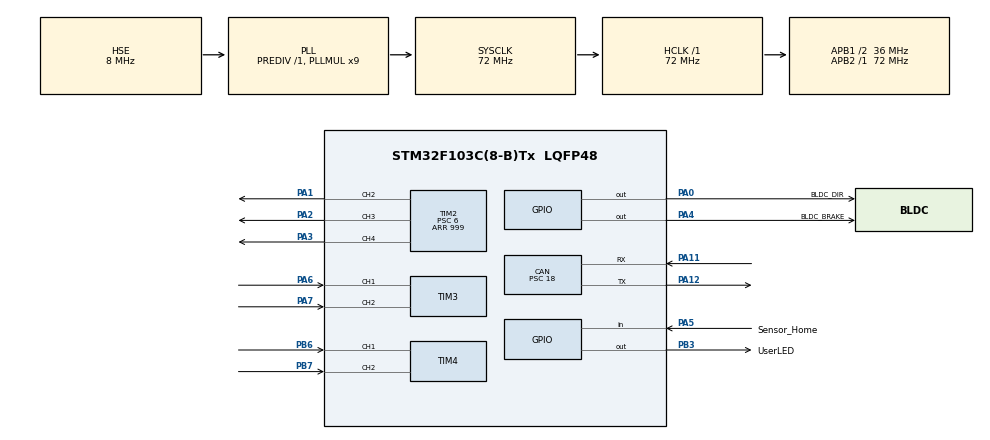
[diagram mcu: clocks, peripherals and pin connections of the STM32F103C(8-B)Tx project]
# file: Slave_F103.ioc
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CAN.BS1=CAN_BS1_2TQ
CAN.CalculateBaudRate=500000
CAN.CalculateTimeBit=2000
CAN.CalculateTimeQuantum=500.0
CAN.Mode=CAN_MODE_LOOPBACK
CAN.Prescaler=18
FREERTOS.INCLUDE_vTaskDelayUntil=1
FREERTOS.Queues01=qCAN,5,uint16_t,0,Dynamic,NULL,NULL
FREERTOS.Tasks01=defaultTask,-3,128,StartDefaultTask,Default,NULL,Dynamic,NULL,NULL;TaskCalcPID,0,128,StartTaskPID,Default,NULL,Static,TaskCalcPIDBuffer,TaskCalcPIDControlBlock;TaskHandleCAN,1,128,StartCANbus,Default,NULL,Static,TaskHandleCANBuffer,TaskHandleCANControlBlock
FREERTOS.configCHECK_FOR_STACK_OVERFLOW=1
FREERTOS.configUSE_NEWLIB_REENTRANT=1
Mcu.Family=STM32F1
Mcu.Name=STM32F103C(8-B)Tx
Mcu.Package=LQFP48
NVIC.CAN1_RX1_IRQn=true\:5\:0\:false\:false\:true\:true\:true\:true\:true
NVIC.PriorityGroup=NVIC_PRIORITYGROUP_4
NVIC.TIM1_UP_IRQn=true\:15\:0\:false\:false\:true\:false\:false\:true\:true
NVIC.TimeBase=TIM1_UP_IRQn
NVIC.TimeBaseIP=TIM1
NVIC.USB_HP_CAN1_TX_IRQn=true\:5\:0\:false\:false\:true\:true\:true\:true\:true
NVIC.USB_LP_CAN1_RX0_IRQn=true\:5\:0\:false\:false\:true\:true\:true\:true\:true
PA0-WKUP.GPIO_Label=BLDC_DIR
PA0-WKUP.Signal=GPIO_Output
PA1.Signal=S_TIM2_CH2
PA11.Mode=CAN_Activate
PA11.Signal=CAN_RX
PA12.Mode=CAN_Activate
PA12.Signal=CAN_TX
PA13.Mode=Serial_Wire
PA13.Signal=SYS_JTMS-SWDIO
PA14.Mode=Serial_Wire
PA14.Signal=SYS_JTCK-SWCLK
PA2.Signal=S_TIM2_CH3
PA3.Signal=S_TIM2_CH4
PA4.GPIO_Label=BLDC_BRAKE
PA4.Signal=GPIO_Output
PA5.GPIO_Label=Sensor_Home
PA5.Signal=GPIO_Input
PA6.Signal=S_TIM3_CH1
PA7.Signal=S_TIM3_CH2
PB3.GPIO_Label=UserLED
PB3.Signal=GPIO_Output
PB6.Signal=S_TIM4_CH1
PB7.Signal=S_TIM4_CH2
PD0-OSC_IN.Mode=HSE-External-Oscillator
PD0-OSC_IN.Signal=RCC_OSC_IN
PD1-OSC_OUT.Mode=HSE-External-Oscillator
PD1-OSC_OUT.Signal=RCC_OSC_OUT
ProjectManager.HeapSize=0x200
ProjectManager.StackSize=0x400
ProjectManager.TargetToolchain=STM32CubeIDE
RCC.AHBFreq_Value=72000000
RCC.APB1CLKDivider=RCC_HCLK_DIV2
RCC.APB1Freq_Value=36000000
RCC.APB1TimFreq_Value=72000000
RCC.APB2Freq_Value=72000000
RCC.APB2TimFreq_Value=72000000
RCC.HCLKFreq_Value=72000000
RCC.PLLMUL=RCC_PLL_MUL9
RCC.PLLSourceVirtual=RCC_PLLSOURCE_HSE
RCC.SYSCLKFreq_VALUE=72000000
RCC.SYSCLKSource=RCC_SYSCLKSOURCE_PLLCLK
RCC.USBFreq_Value=72000000
SH.S_TIM2_CH2.0=TIM2_CH2,PWM Generation2 CH2
SH.S_TIM2_CH3.0=TIM2_CH3,PWM Generation3 CH3
SH.S_TIM2_CH4.0=TIM2_CH4,PWM Generation4 CH4
SH.S_TIM3_CH1.0=TIM3_CH1,Encoder_Interface
SH.S_TIM3_CH2.0=TIM3_CH2,Encoder_Interface
SH.S_TIM4_CH1.0=TIM4_CH1,Encoder_Interface
SH.S_TIM4_CH2.0=TIM4_CH2,Encoder_Interface
TIM2.Channel-PWM\ Generation2\ CH2=TIM_CHANNEL_2
TIM2.Channel-PWM\ Generation3\ CH3=TIM_CHANNEL_3
TIM2.Channel-PWM\ Generation4\ CH4=TIM_CHANNEL_4
TIM2.Period=999
TIM2.Prescaler=6
TIM3.EncoderMode=TIM_ENCODERMODE_TI12
TIM4.EncoderMode=TIM_ENCODERMODE_TI12
VP_FREERTOS_VS_CMSIS_V1.Mode=CMSIS_V1
VP_SYS_VS_tim1.Mode=TIM1
board=custom

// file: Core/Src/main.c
/* USER CODE BEGIN Header */
/**
  ******************************************************************************
  * @file           : main.c
  * @brief          : Main program body
  ******************************************************************************
  * @attention
  *
  * Copyright (c) 2023 STMicroelectronics.
  * All rights reserved.
  *
  * This software is licensed under terms that can be found in the LICENSE file
  * in the root directory of this software component.
  * If no LICENSE file comes with this software, it is provided AS-IS.
  *
  ******************************************************************************
  */
/* USER CODE END Header */
#include "main.h"
#include "cmsis_os.h"

/* USER CODE BEGIN Includes */
#include "CAN_Control.h"
#include "CAN_FuncHandle.h"
#include "Encoder.h"
#include "BoardParameter.h"
#include "PID_SwerveModule.h"
#include "SetHome.h"
/* USER CODE END Includes */

/* USER CODE BEGIN PD */
#define FLASH_ADDR_BASE 0x08000000
#define FLASH_ADDR_TARGET_PAGE 64
#define FLASH_ADDR_TARGET (FLASH_ADDR_BASE + 1024*FLASH_ADDR_TARGET_PAGE)
/* USER CODE END PD */

CAN_HandleTypeDef hcan;

TIM_HandleTypeDef htim2;
TIM_HandleTypeDef htim3;
TIM_HandleTypeDef htim4;

osThreadId defaultTaskHandle;
osThreadId TaskCalcPIDHandle;
uint32_t TaskCalcPIDBuffer[ 128 ];
osStaticThreadDef_t TaskCalcPIDControlBlock;
osThreadId TaskHandleCANHandle;
uint32_t TaskHandleCANBuffer[ 128 ];
osStaticThreadDef_t TaskHandleCANControlBlock;
osMessageQId qCANHandle;
/* USER CODE BEGIN PV */
uint8_t TestMode = 0;
float dcAngleResult = 0;
float bldcSpeed = 10;
float dcAngleSet = 0;
QueueHandle_t qPID,qHome;
bool IsSetHome = false;
float targetAngle;
float targetSpeed;
float testDeltaT;
/* USER CODE END PV */

void SystemClock_Config(void);
static void MX_GPIO_Init(void);
static void MX_CAN_Init(void);
static void MX_TIM3_Init(void);
static void MX_TIM4_Init(void);
static void MX_TIM2_Init(void);
void StartDefaultTask(void const * argument);
void StartTaskPID(void const * argument);
void StartCANbus(void const * argument);

/* USER CODE BEGIN 0 */
void HAL_CAN_RxFifo0MsgPendingCallback(CAN_HandleTypeDef *hcan){
	 HAL_CAN_DeactivateNotification(hcan, CAN_IT_RX_FIFO0_MSG_PENDING);
	 CAN_MODE_ID modeID = canctrl_Receive_2(hcan, CAN_RX_FIFO0);
	 BaseType_t HigherPriorityTaskWoken = pdFALSE;
	 xTaskNotifyFromISR(TaskHandleCANHandle,modeID,eSetValueWithOverwrite,&HigherPriorityTaskWoken);
	 HAL_GPIO_TogglePin(UserLED_GPIO_Port, UserLED_Pin);
}
void HAL_CAN_RxFifo1MsgPendingCallback(CAN_HandleTypeDef *hcan){
	 HAL_CAN_DeactivateNotification(hcan, CAN_IT_RX_FIFO1_MSG_PENDING);
	 CAN_MODE_ID modeID = canctrl_Receive_2(hcan, CAN_RX_FIFO1);
	 BaseType_t HigherPriorityTaskWoken = pdFALSE;
	 xTaskNotifyFromISR(TaskHandleCANHandle,modeID,eSetValueWithOverwrite,&HigherPriorityTaskWoken);
	 HAL_GPIO_TogglePin(UserLED_GPIO_Port, UserLED_Pin);
}

void CAN_Init(){
	HAL_CAN_Start(&hcan);
	HAL_CAN_ActivateNotification(&hcan, CAN_IT_RX_FIFO0_MSG_PENDING | CAN_IT_RX_FIFO1_MSG_PENDING | CAN_IT_RX_FIFO0_FULL);
	uint16_t deviceID = *(__IO uint32_t*)FLASH_ADDR_TARGET << CAN_DEVICE_POS;
	canctrl_Filter_List16(&hcan,
			deviceID | CANCTRL_MODE_ENCODER,
			deviceID | CANCTRL_MODE_LED_BLUE,
			deviceID | CANCTRL_MODE_MOTOR_SPEED_ANGLE,
			deviceID | CANCTRL_MODE_SET_HOME,
			0, CAN_RX_FIFO0);
	canctrl_Filter_List16(&hcan,
			deviceID | CANCTRL_MODE_PID_BLDC_SPEED,
			deviceID | CANCTRL_MODE_PID_DC_ANGLE,
			deviceID | CANCTRL_MODE_PID_DC_SPEED,
			deviceID | CANCTRL_MODE_PID_BLDC_BREAKPROTECTION,
			1, CAN_RX_FIFO0);
	canctrl_Filter_List16(&hcan,
			deviceID | CANCTRL_MODE_TEST,
			deviceID | CANCTRL_MODE_MOTOR_BLDC_BRAKE,
			0,
			0,
			2, CAN_RX_FIFO0);
/* CAN1(address) = *(__IO uint32_t*)(0x40000000UL 			 +  0x00006400			+ 0x01C				)
   CAN1(address) = *(__IO uint32_t*)(PERIPHERAL_BASE_ADDRESS + APB1_BASE_ADDRESS 	+ CAN_BASE_ADDRESS  )*/
//Access bxCAN register:
	// method 1:
	if(hcan.Init.Mode == CAN_MODE_LOOPBACK) canctrl_Filter_Mask16(&hcan, 0, 0, 0, 0, 6, CAN_RX_FIFO0);
	// method 2:
//	if(hcan.Instance->BTR & (CAN_BTR_LBKM)) canctrl_Filter_Mask16(...);
	// method 3:
//	(CAN1->BTR & (CAN_BTR_LBKM)) canctrl_Filter_Mask16(...);
}

uint8_t Break;

void can_GetPID_CompleteCallback(CAN_PID canPID, PID_type type){
	PID_Param pid = brd_GetPID(type);
	canfunc_Convert_CAN_PID_to_PID_Param(canPID, &pid);
	brd_SetPID(pid, type);
}

void handleFunc(CAN_MODE_ID mode){
	switch(mode){
	case CANCTRL_MODE_SHOOT:
		break;
	case CANCTRL_MODE_SET_HOME:
		bool setHomeValue = canfunc_GetBoolValue();
		xQueueSend(qHome,(void *)&setHomeValue,1/portTICK_PERIOD_MS);
		break;
	case CANCTRL_MODE_MOTOR_BLDC_BRAKE:
		bool brake = canfunc_GetBoolValue();
		MotorBLDC mbldc = brd_GetObjMotorBLDC();
		MotorBLDC_Brake(&mbldc, brake);
		break;
	case CANCTRL_MODE_PID_BLDC_BREAKPROTECTION:
		Break = canfunc_GetBoolValue();
		PID_BLDC_BreakProtection(Break);
	case CANCTRL_MODE_TEST:
		TestMode = canfunc_GetBoolValue();
		break;
	case CANCTRL_MODE_LED_BLUE:
		break;
	case CANCTRL_MODE_ENCODER:
		int32_t count_X4 = (int32_t)canfunc_MotorGetEncoderPulseBLDC();
		brd_SetEncX4BLDC(count_X4);
		break;
	case CANCTRL_MODE_MOTOR_SPEED_ANGLE:
		CAN_SpeedBLDC_AngleDC speedAngle;
		speedAngle = canfunc_MotorGetSpeedAndAngle();
		brd_SetTargetAngleDC(speedAngle.dcAngle);
		brd_SetSpeedBLDC(speedAngle.bldcSpeed);
		break;
	case CANCTRL_MODE_PID_DC_SPEED:
	case CANCTRL_MODE_PID_DC_ANGLE:
	case CANCTRL_MODE_PID_BLDC_SPEED:
		canfunc_GetPID(&can_GetPID_CompleteCallback);
		break;
	case CANCTRL_MODE_START:
	case CANCTRL_MODE_END:
		break;
	}
	HAL_CAN_ActivateNotification(&hcan, CAN_IT_RX_FIFO0_MSG_PENDING);
}

void Flash_Write(CAN_DEVICE_ID ID){
	uint32_t targetAddr = FLASH_ADDR_BASE + 1024*64;
	  FLASH_EraseInitTypeDef fe;
	  fe.TypeErase = FLASH_TYPEERASE_PAGES;
	  fe.PageAddress = targetAddr;
	  fe.NbPages = 1;
	  fe.Banks = FLASH_BANK_1;
	  uint32_t pageErr = 0;
	  HAL_FLASH_Unlock();
	  if(HAL_FLASHEx_Erase(&fe, &pageErr) != HAL_OK){
//		 return HAL_FLASH_GetError();
		  while(1);
	  }
	  if(HAL_FLASH_Program(FLASH_TYPEPROGRAM_WORD, FLASH_ADDR_TARGET,(uint32_t)ID) != HAL_OK){
//		 return HAL_FLASH_GetError();
		  while(1);
	  }
	  HAL_FLASH_Lock();
}

void RunTestMode(){
}

void TestPID(){
	PID_BLDC_CalSpeed(bldcSpeed);
	PID_DC_CalPos(dcAngleSet);
	Encoder_t enDC = brd_GetObjEncDC();
	dcAngleResult = encoder_GetPulse(&enDC, MODE_ANGLE);
}

void HAL_CAN_ErrorCallback(CAN_HandleTypeDef *hcan){
	while(1);
}

void HAL_CAN_RxFifo0FullCallback(CAN_HandleTypeDef *hcan){
	__NOP();
//	HAL_CAN_DeactivateNotification(hcan, CAN_IT_RX_FIFO0_MSG_PENDING);
}
/* USER CODE END 0 */

int main(void)
{

  /* MCU Configuration--------------------------------------------------------*/

  /* Reset of all peripherals, Initializes the Flash interface and the Systick. */
  HAL_Init();

  /* Configure the system clock */
  SystemClock_Config();

  /* Initialize all configured peripherals */
  MX_GPIO_Init();
  MX_CAN_Init();
  MX_TIM3_Init();
  MX_TIM4_Init();
  MX_TIM2_Init();
  /* USER CODE BEGIN 2 */
  __HAL_DBGMCU_FREEZE_TIM2();
  brd_Init();
  qPID = xQueueCreate(2,sizeof(float));
  qHome = xQueueCreate(1,sizeof(bool));

//  Flash_Write(CANCTRL_DEVICE_MOTOR_CONTROLLER_1);
//  __HAL_DBGMCU_FREEZE_CAN1();
  HAL_TIM_Encoder_Start_IT(&htim1, TIM_CHANNEL_ALL);
  HAL_TIM_Encoder_Start_IT(&htim2, TIM_CHANNEL_ALL);
  HAL_TIM_Encoder_Start_IT(&htim3, TIM_CHANNEL_ALL);

  /* USER CODE END 2 */

  /* Create the queue(s) */
  /* definition and creation of qCAN */
  osMessageQDef(qCAN, 5, uint16_t);
  qCANHandle = osMessageCreate(osMessageQ(qCAN), NULL);

  /* Create the thread(s) */
  /* definition and creation of defaultTask */
  osThreadDef(defaultTask, StartDefaultTask, osPriorityIdle, 0, 128);
  defaultTaskHandle = osThreadCreate(osThread(defaultTask), NULL);

  /* definition and creation of TaskCalcPID */
  osThreadStaticDef(TaskCalcPID, StartTaskPID, osPriorityNormal, 0, 128, TaskCalcPIDBuffer, &TaskCalcPIDControlBlock);
  TaskCalcPIDHandle = osThreadCreate(osThread(TaskCalcPID), NULL);

  /* definition and creation of TaskHandleCAN */
  osThreadStaticDef(TaskHandleCAN, StartCANbus, osPriorityAboveNormal, 0, 128, TaskHandleCANBuffer, &TaskHandleCANControlBlock);
  TaskHandleCANHandle = osThreadCreate(osThread(TaskHandleCAN), NULL);

  /* Start scheduler */
  osKernelStart();

  /* We should never get here as control is now taken by the scheduler */
  /* Infinite loop */
  while (1)
  {

  }
}

void SystemClock_Config(void)
{
  RCC_OscInitTypeDef RCC_OscInitStruct = {0};
  RCC_ClkInitTypeDef RCC_ClkInitStruct = {0};

  /** Initializes the RCC Oscillators according to the specified parameters
  * in the RCC_OscInitTypeDef structure.
  */
  RCC_OscInitStruct.OscillatorType = RCC_OSCILLATORTYPE_HSE;
  RCC_OscInitStruct.HSEState = RCC_HSE_ON;
  RCC_OscInitStruct.HSEPredivValue = RCC_HSE_PREDIV_DIV1;
  RCC_OscInitStruct.HSIState = RCC_HSI_ON;
  RCC_OscInitStruct.PLL.PLLState = RCC_PLL_ON;
  RCC_OscInitStruct.PLL.PLLSource = RCC_PLLSOURCE_HSE;
  RCC_OscInitStruct.PLL.PLLMUL = RCC_PLL_MUL9;
  if (HAL_RCC_OscConfig(&RCC_OscInitStruct) != HAL_OK)
  {
    Error_Handler();
  }

  /** Initializes the CPU, AHB and APB buses clocks
  */
  RCC_ClkInitStruct.ClockType = RCC_CLOCKTYPE_HCLK|RCC_CLOCKTYPE_SYSCLK
                              |RCC_CLOCKTYPE_PCLK1|RCC_CLOCKTYPE_PCLK2;
  RCC_ClkInitStruct.SYSCLKSource = RCC_SYSCLKSOURCE_PLLCLK;
  RCC_ClkInitStruct.AHBCLKDivider = RCC_SYSCLK_DIV1;
  RCC_ClkInitStruct.APB1CLKDivider = RCC_HCLK_DIV2;
  RCC_ClkInitStruct.APB2CLKDivider = RCC_HCLK_DIV1;

  if (HAL_RCC_ClockConfig(&RCC_ClkInitStruct, FLASH_LATENCY_2) != HAL_OK)
  {
    Error_Handler();
  }
}

static void MX_CAN_Init(void)
{

  hcan.Instance = CAN1;
  hcan.Init.Prescaler = 18;
  hcan.Init.Mode = CAN_MODE_NORMAL;
  hcan.Init.SyncJumpWidth = CAN_SJW_1TQ;
  hcan.Init.TimeSeg1 = CAN_BS1_2TQ;
  hcan.Init.TimeSeg2 = CAN_BS2_1TQ;
  hcan.Init.TimeTriggeredMode = DISABLE;
  hcan.Init.AutoBusOff = DISABLE;
  hcan.Init.AutoWakeUp = DISABLE;
  hcan.Init.AutoRetransmission = DISABLE;
  hcan.Init.ReceiveFifoLocked = DISABLE;
  hcan.Init.TransmitFifoPriority = DISABLE;
  if (HAL_CAN_Init(&hcan) != HAL_OK)
  {
    Error_Handler();
  }

}

static void MX_TIM2_Init(void)
{

  TIM_MasterConfigTypeDef sMasterConfig = {0};
  TIM_OC_InitTypeDef sConfigOC = {0};

  htim2.Instance = TIM2;
  htim2.Init.Prescaler = 6;
  htim2.Init.CounterMode = TIM_COUNTERMODE_UP;
  htim2.Init.Period = 999;
  htim2.Init.ClockDivision = TIM_CLOCKDIVISION_DIV1;
  htim2.Init.AutoReloadPreload = TIM_AUTORELOAD_PRELOAD_DISABLE;
  if (HAL_TIM_PWM_Init(&htim2) != HAL_OK)
  {
    Error_Handler();
  }
  sMasterConfig.MasterOutputTrigger = TIM_TRGO_RESET;
  sMasterConfig.MasterSlaveMode = TIM_MASTERSLAVEMODE_DISABLE;
  if (HAL_TIMEx_MasterConfigSynchronization(&htim2, &sMasterConfig) != HAL_OK)
  {
    Error_Handler();
  }
  sConfigOC.OCMode = TIM_OCMODE_PWM1;
  sConfigOC.Pulse = 0;
  sConfigOC.OCPolarity = TIM_OCPOLARITY_HIGH;
  sConfigOC.OCFastMode = TIM_OCFAST_DISABLE;
  if (HAL_TIM_PWM_ConfigChannel(&htim2, &sConfigOC, TIM_CHANNEL_2) != HAL_OK)
  {
    Error_Handler();
  }
  if (HAL_TIM_PWM_ConfigChannel(&htim2, &sConfigOC, TIM_CHANNEL_3) != HAL_OK)
  {
    Error_Handler();
  }
  if (HAL_TIM_PWM_ConfigChannel(&htim2, &sConfigOC, TIM_CHANNEL_4) != HAL_OK)
  {
    Error_Handler();
  }
  HAL_TIM_MspPostInit(&htim2);

}

static void MX_TIM3_Init(void)
{

  TIM_Encoder_InitTypeDef sConfig = {0};
  TIM_MasterConfigTypeDef sMasterConfig = {0};

  htim3.Instance = TIM3;
  htim3.Init.Prescaler = 0;
  htim3.Init.CounterMode = TIM_COUNTERMODE_UP;
  htim3.Init.Period = 65535;
  htim3.Init.ClockDivision = TIM_CLOCKDIVISION_DIV1;
  htim3.Init.AutoReloadPreload = TIM_AUTORELOAD_PRELOAD_DISABLE;
  sConfig.EncoderMode = TIM_ENCODERMODE_TI12;
  sConfig.IC1Polarity = TIM_ICPOLARITY_RISING;
  sConfig.IC1Selection = TIM_ICSELECTION_DIRECTTI;
  sConfig.IC1Prescaler = TIM_ICPSC_DIV1;
  sConfig.IC1Filter = 0;
  sConfig.IC2Polarity = TIM_ICPOLARITY_RISING;
  sConfig.IC2Selection = TIM_ICSELECTION_DIRECTTI;
  sConfig.IC2Prescaler = TIM_ICPSC_DIV1;
  sConfig.IC2Filter = 0;
  if (HAL_TIM_Encoder_Init(&htim3, &sConfig) != HAL_OK)
  {
    Error_Handler();
  }
  sMasterConfig.MasterOutputTrigger = TIM_TRGO_RESET;
  sMasterConfig.MasterSlaveMode = TIM_MASTERSLAVEMODE_DISABLE;
  if (HAL_TIMEx_MasterConfigSynchronization(&htim3, &sMasterConfig) != HAL_OK)
  {
    Error_Handler();
  }

}

static void MX_TIM4_Init(void)
{

  TIM_Encoder_InitTypeDef sConfig = {0};
  TIM_MasterConfigTypeDef sMasterConfig = {0};

  htim4.Instance = TIM4;
  htim4.Init.Prescaler = 0;
  htim4.Init.CounterMode = TIM_COUNTERMODE_UP;
  htim4.Init.Period = 65535;
  htim4.Init.ClockDivision = TIM_CLOCKDIVISION_DIV1;
  htim4.Init.AutoReloadPreload = TIM_AUTORELOAD_PRELOAD_DISABLE;
  sConfig.EncoderMode = TIM_ENCODERMODE_TI12;
  sConfig.IC1Polarity = TIM_ICPOLARITY_RISING;
  sConfig.IC1Selection = TIM_ICSELECTION_DIRECTTI;
  sConfig.IC1Prescaler = TIM_ICPSC_DIV1;
  sConfig.IC1Filter = 0;
  sConfig.IC2Polarity = TIM_ICPOLARITY_RISING;
  sConfig.IC2Selection = TIM_ICSELECTION_DIRECTTI;
  sConfig.IC2Prescaler = TIM_ICPSC_DIV1;
  sConfig.IC2Filter = 0;
  if (HAL_TIM_Encoder_Init(&htim4, &sConfig) != HAL_OK)
  {
    Error_Handler();
  }
  sMasterConfig.MasterOutputTrigger = TIM_TRGO_RESET;
  sMasterConfig.MasterSlaveMode = TIM_MASTERSLAVEMODE_DISABLE;
  if (HAL_TIMEx_MasterConfigSynchronization(&htim4, &sMasterConfig) != HAL_OK)
  {
    Error_Handler();
  }

}

static void MX_GPIO_Init(void)
{
  GPIO_InitTypeDef GPIO_InitStruct = {0};

  /* GPIO Ports Clock Enable */
  __HAL_RCC_GPIOD_CLK_ENABLE();
  __HAL_RCC_GPIOA_CLK_ENABLE();
  __HAL_RCC_GPIOB_CLK_ENABLE();

  /*Configure GPIO pin Output Level */
  HAL_GPIO_WritePin(GPIOA, BLDC_DIR_Pin|BLDC_BRAKE_Pin, GPIO_PIN_RESET);

  /*Configure GPIO pin Output Level */
  HAL_GPIO_WritePin(UserLED_GPIO_Port, UserLED_Pin, GPIO_PIN_RESET);

  /*Configure GPIO pins : BLDC_DIR_Pin BLDC_BRAKE_Pin */
  GPIO_InitStruct.Pin = BLDC_DIR_Pin|BLDC_BRAKE_Pin;
  GPIO_InitStruct.Mode = GPIO_MODE_OUTPUT_PP;
  GPIO_InitStruct.Pull = GPIO_NOPULL;
  GPIO_InitStruct.Speed = GPIO_SPEED_FREQ_LOW;
  HAL_GPIO_Init(GPIOA, &GPIO_InitStruct);

  /*Configure GPIO pin : Sensor_Home_Pin */
  GPIO_InitStruct.Pin = Sensor_Home_Pin;
  GPIO_InitStruct.Mode = GPIO_MODE_INPUT;
  GPIO_InitStruct.Pull = GPIO_NOPULL;
  HAL_GPIO_Init(Sensor_Home_GPIO_Port, &GPIO_InitStruct);

  /*Configure GPIO pin : UserLED_Pin */
  GPIO_InitStruct.Pin = UserLED_Pin;
  GPIO_InitStruct.Mode = GPIO_MODE_OUTPUT_PP;
  GPIO_InitStruct.Pull = GPIO_NOPULL;
  GPIO_InitStruct.Speed = GPIO_SPEED_FREQ_LOW;
  HAL_GPIO_Init(UserLED_GPIO_Port, &GPIO_InitStruct);

}

/* USER CODE BEGIN 4 */

void SethomeHandle(){
	if(xQueueReceive(qHome, (void*)&IsSetHome, 1/portTICK_PERIOD_MS) == pdTRUE){
		__NOP();
	}
}

/* USER CODE END 4 */

void StartDefaultTask(void const * argument)
{
  /* USER CODE BEGIN 5 */
	SET_HOME_DEFAULT_TASK:
	sethome_Begin();
	while(!sethome_IsComplete()){
	  sethome_Procedure();
	  float speed = sethome_GetSpeed();
	  xQueueSend(qPID,(const void*)&speed,10/portTICK_PERIOD_MS);
	  osDelay(1);
	}
	brd_SetHomeCompleteCallback();
	 IsSetHome = 0;
  /* Infinite loop */

  for(;;)
  {
//	canTestBreakProtection(1);
//	canTestSetHome(1);
	SethomeHandle();

	if(IsSetHome){
		osDelay(1);
		goto SET_HOME_DEFAULT_TASK;
	}
    osDelay(1);
  }
}
  /* USER CODE END 5 */

void StartTaskPID(void const * argument)
{
  /* USER CODE BEGIN StartTaskPID */
	SET_HOME_PID_TASK:
	float TargetValue = 0;
    while(!sethome_IsComplete()){
    	xQueueReceive(qPID, &TargetValue,0);
    	PID_DC_CalSpeed((float)TargetValue);
    	osDelay(1);
    }
  /* Infinite loop */
  for(;;)
  {
	  if(IsSetHome) {
		  PID_BLDC_BreakProtection(1);
		  osDelay(1000);
		  PID_BLDC_BreakProtection(0);

		  goto SET_HOME_PID_TASK;
	  }

	  PID_DC_CalPos(brd_GetTargetAngleDC());
	  PID_BLDC_CalSpeed(brd_GetSpeedBLDC());
	  osDelay(1);
  }
  /* USER CODE END StartTaskPID */
}

void StartCANbus(void const * argument)
{
  /* USER CODE BEGIN StartCANbus */
	CAN_Init();
	uint32_t modeID;
  /* Infinite loop */
  for(;;)
  {
	  if(xTaskNotifyWait(pdFALSE, pdFALSE, &modeID, portMAX_DELAY)){
		  handleFunc((CAN_MODE_ID)modeID);
	  }
//    osDelay(1);
  }
  /* USER CODE END StartCANbus */
}

void HAL_TIM_PeriodElapsedCallback(TIM_HandleTypeDef *htim)
{
  if (htim->Instance == TIM1) {
    HAL_IncTick();
  }
}

void Error_Handler(void)
{
  __disable_irq();
  while (1)
  {
  }
}
